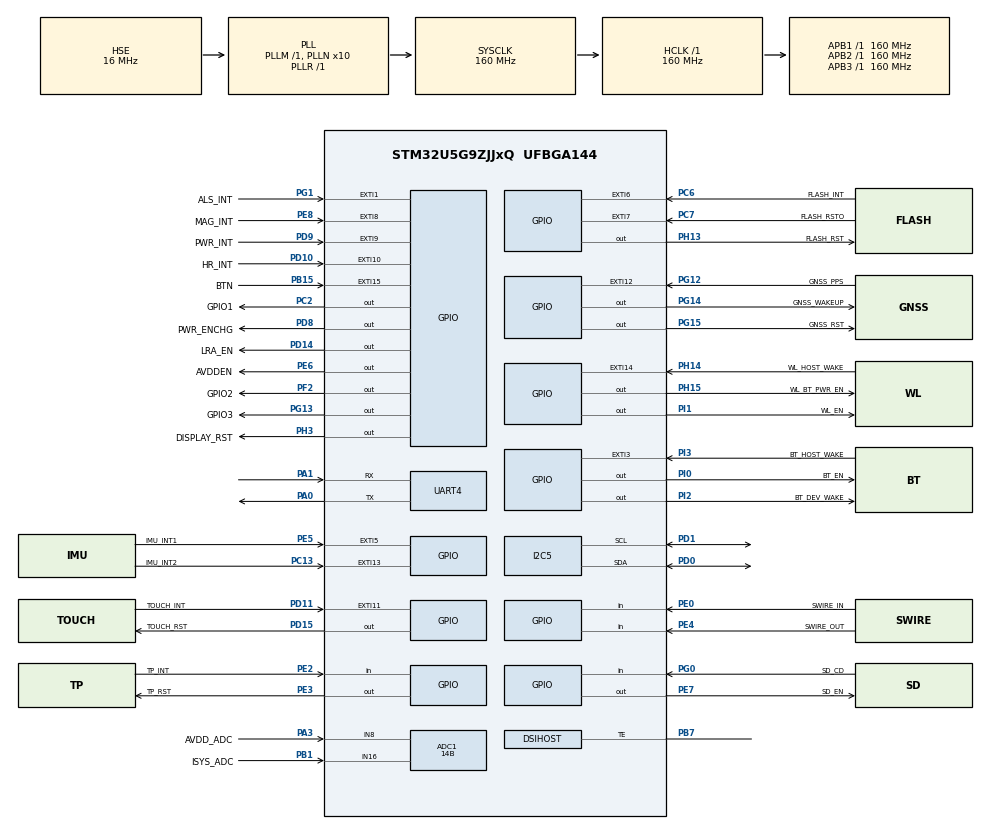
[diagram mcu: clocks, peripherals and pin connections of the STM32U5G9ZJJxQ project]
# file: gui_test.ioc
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ADC1.Channel-0\#ChannelRegularConversion=ADC_CHANNEL_8
ADC1.ClockPrescaler=ADC_CLOCK_ASYNC_DIV128
ADC1.ContinuousConvMode=ENABLE
ADC1.ConversionDataManagement=ADC_CONVERSIONDATA_DMA_CIRCULAR
ADC1.DMAContinuousRequests=ENABLE
ADC1.MonitoredBy-0\#ChannelRegularConversion=__NULL
ADC1.NbrOfConversion=1
ADC1.NbrOfConversionFlag=1
ADC1.OffsetNumber-0\#ChannelRegularConversion=ADC_OFFSET_NONE
ADC1.Rank-0\#ChannelRegularConversion=1
ADC1.Resolution=ADC_RESOLUTION_14B
ADC1.SamplingTime-0\#ChannelRegularConversion=ADC_SAMPLETIME_68CYCLES
ADC1.master=1
CORTEX_M33_NS.userName=CORTEX_M33
DSIHOST.AutomaticClockLaneControl=DSI_AUTO_CLK_LANE_CTRL_DISABLE
DSIHOST.AutomaticRefresh=DSI_AR_DISABLE
DSIHOST.BTATimeout=20
DSIHOST.CommandSize=416
DSIHOST.HighSpeedReadTimeout=20
DSIHOST.HighSpeedTransmissionTimeout=20
DSIHOST.HighSpeedWriteTimeout=20
DSIHOST.LPDcsLongWrite=DSI_LP_DLW_ENABLE
DSIHOST.LPDcsShortReadNoP=DSI_LP_DSR0P_ENABLE
DSIHOST.LPDcsShortWriteNoP=DSI_LP_DSW0P_ENABLE
DSIHOST.LPDcsShortWriteOneP=DSI_LP_DSW1P_ENABLE
DSIHOST.LPGenLongWrite=DSI_LP_GLW_ENABLE
DSIHOST.LPGenShortReadNoP=DSI_LP_GSR0P_ENABLE
DSIHOST.LPGenShortReadOneP=DSI_LP_GSR1P_ENABLE
DSIHOST.LPGenShortReadTwoP=DSI_LP_GSR2P_ENABLE
DSIHOST.LPGenShortWriteNoP=DSI_LP_GSW0P_ENABLE
DSIHOST.LPGenShortWriteOneP=DSI_LP_GSW1P_ENABLE
DSIHOST.LPGenShortWriteTwoP=DSI_LP_GSW2P_ENABLE
DSIHOST.LPMaxReadPacket=DSI_LP_MRDP_ENABLE
DSIHOST.LowPowerReadTimeout=20
DSIHOST.LowPowerReceptionTimeout=20
DSIHOST.LowPowerWriteTimeout=20
DSIHOST.NumberOfLanes=DSI_ONE_DATA_LANE
DSIHOST.PHYFrequencyRange=DSI_DPHY_FRANGE_450MHZ_510MHZ
DSIHOST.PHYLowPowerOffset=PHY_LP_OFFSSET_0_CLKP
DSIHOST.PLLChargePump=DSI_PLL_CHARGE_PUMP_2000HZ_4400HZ
DSIHOST.PLLTuning=DSI_PLL_LOOP_FILTER_2000HZ_4400HZ
DSIHOST.PLLVCORange=DSI_DPHY_VCO_FRANGE_800MHZ_1GHZ
DSIHOST.StopWaitTime=10
DSIHOST.TimeoutCkdiv=1
DSI_CKN.Mode=DSIHost_Adapted_TE
DSI_CKN.PinAttribute=Free
DSI_CKN.Signal=DSIHOST_CKN
DSI_CKP.Mode=DSIHost_Adapted_TE
DSI_CKP.PinAttribute=Free
DSI_CKP.Signal=DSIHOST_CKP
DSI_D0N.Mode=DSIHost_Adapted_TE
DSI_D0N.PinAttribute=Free
DSI_D0N.Signal=DSIHOST_D0N
DSI_D0P.Mode=DSIHost_Adapted_TE
DSI_D0P.PinAttribute=Free
DSI_D0P.Signal=DSIHOST_D0P
DSI_D1N.Mode=DSIHost_Adapted_TE
DSI_D1N.PinAttribute=Free
DSI_D1N.Signal=DSIHOST_D1N
DSI_D1P.Mode=DSIHost_Adapted_TE
DSI_D1P.PinAttribute=Free
DSI_D1P.Signal=DSIHOST_D1P
GPDMA1.CIRCULARMODE_GPDMACH0=ENABLE
GPDMA1.DESTDATAWIDTH_GPDMACH0=DMA_DEST_DATAWIDTH_HALFWORD
GPDMA1.IPHANDLE_GPDMACH0-SIMPLEREQUEST_GPDMACH0=__NULL
GPDMA1.REQUEST_GPDMACH0=GPDMA1_REQUEST_ADC1
GPDMA1.SRCDATAWIDTH_GPDMACH0=DMA_SRC_DATAWIDTH_HALFWORD
GPDMA1.TRANSFERALLOCATEDPORTDEST_GPDMACH0=DMA_DEST_ALLOCATED_PORT1
I2C5.Timing=0x30909DEC
LTDC.ActiveH=416
LTDC.ActiveW=416
LTDC.Alpha0_L0=128
LTDC.Alpha_L0=128
LTDC.Blue=0
LTDC.Blue_L0=0
LTDC.FBStartAdress_L0=framebuf
LTDC.Green=0
LTDC.Green_L0=255
LTDC.HBP=0
LTDC.HFP=0
LTDC.HSync=1
LTDC.ImageHeight_L0=416
LTDC.ImageWidth_L0=416
LTDC.Layers=0
LTDC.Red=255
LTDC.Red_L0=0
LTDC.VBP=0
LTDC.VFP=0
LTDC.VSync=1
LTDC.WindowX1_L0=416
LTDC.WindowY1_L0=416
Mcu.Family=STM32U5
Mcu.Name=STM32U5G9ZJJxQ
Mcu.Package=UFBGA144
NVIC.ADC1_2_IRQn=true\:0\:0\:false\:false\:true\:false\:true\:true\:true
NVIC.DMA2D_IRQn=true\:0\:0\:false\:false\:true\:false\:true\:true\:true
NVIC.DSI_IRQn=true\:0\:0\:false\:false\:true\:false\:true\:true\:true
NVIC.GPDMA1_Channel0_IRQn=true\:0\:0\:false\:false\:true\:false\:false\:true\:true
NVIC.PriorityGroup=NVIC_PRIORITYGROUP_4
NVIC.RCC_IRQn=true\:0\:0\:false\:false\:true\:false\:true\:false\:true
NVIC.TIM6_IRQn=true\:15\:0\:false\:false\:true\:false\:false\:true\:true
NVIC.TimeBase=TIM6_IRQn
NVIC.TimeBaseIP=TIM6
PA0.Mode=Asynchronous
PA0.PinAttribute=Free
PA0.Signal=UART4_TX
PA1.Mode=Asynchronous
PA1.PinAttribute=Free
PA1.Signal=UART4_RX
PA11.Signal=USB_OTG_HS_DM
PA12.Signal=USB_OTG_HS_DP
PA13\ (JTMS/SWDIO).Mode=Serial_Wire
PA13\ (JTMS/SWDIO).Signal=DEBUG_JTMS-SWDIO
PA14\ (JTCK/SWCLK).Mode=Serial_Wire
PA14\ (JTCK/SWCLK).Signal=DEBUG_JTCK-SWCLK
PA15\ (JTDI).Signal=USART2_RX
PA2.Mode=Clock-out-LSCO
PA2.Signal=RCC_LSCO
PA3.GPIO_Label=AVDD_ADC
PA3.Mode=IN8-Single-Ended
PA3.Signal=ADC1_IN8
PA4.GPIO_Label=ELVDD_ADC
PA4.Signal=ADC1_IN9
PA5.PinAttribute=Free
PA5.Signal=SPI1_SCK
PA6.Signal=SPI1_MISO
PA7.Signal=SPI1_MOSI
PA8.Signal=SDMMC2_D1
PB0.PinAttribute=Free
PB0.Signal=SPI1_NSS
PB1.GPIO_Label=ISYS_ADC
PB1.Mode=IN16-Single-Ended
PB1.Signal=ADC1_IN16
PB10.Signal=OCTOSPIM_P1_CLK
PB11.PinAttribute=Free
PB11.Signal=I2C2_SDA
PB13.Signal=I2C2_SCL
PB14.PinAttribute=Free
PB14.Signal=SDMMC2_D0
PB15.GPIO_Label=BTN
PB15.Signal=GPXTI15
PB2.PinAttribute=Free
PB2.Signal=OCTOSPIM_P1_DQS
PB3\ (JTDO/TRACESWO).Signal=SDMMC2_D2
PB4\ (NJTRST).PinAttribute=Free
PB4\ (NJTRST).Signal=SDMMC2_D3
PB5.Signal=OCTOSPIM_P1_NCLK
PB6.PinAttribute=Free
PB6.Signal=I2C1_SCL
PB7.Mode=DSIHost_Adapted_TE
PB7.Signal=DSIHOST_TE
PB8.Signal=SDMMC1_CKIN
PB9.Signal=I2C1_SDA
PC0.PinAttribute=Free
PC0.Signal=I2C3_SCL
PC1.PinAttribute=Free
PC1.Signal=I2C3_SDA
PC10.Signal=SDMMC1_D2
PC11.Signal=SDMMC1_D3
PC12.PinAttribute=Free
PC12.Signal=SDMMC1_CK
PC13.GPIO_Label=IMU_INT2
PC13.PinAttribute=Free
PC13.Signal=GPXTI13
PC14-OSC32_IN\ (PC14).Mode=LSE-External-Oscillator
PC14-OSC32_IN\ (PC14).Signal=RCC_OSC32_IN
PC15-OSC32_OUT\ (PC15).Mode=LSE-External-Oscillator
PC15-OSC32_OUT\ (PC15).Signal=RCC_OSC32_OUT
PC2.GPIO_Label=GPIO1
PC2.PinAttribute=Free
PC2.Signal=GPIO_Output
PC3.GPIO_Label=ELVSS_ADC
PC3.Signal=ADC1_IN4
PC6.GPIO_Label=FLASH_INT
PC6.PinAttribute=Free
PC6.Signal=GPXTI6
PC7.GPIO_Label=FLASH_RSTO
PC7.PinAttribute=Free
PC7.Signal=GPXTI7
PC8.Signal=SDMMC1_D0
PC9.PinAttribute=Free
PC9.Signal=SDMMC1_D1
PD0.Mode=I2C
PD0.Signal=I2C5_SDA
PD1.Mode=I2C
PD1.PinAttribute=Free
PD1.Signal=I2C5_SCL
PD10.GPIO_Label=HR_INT
PD10.PinAttribute=Free
PD10.Signal=GPXTI10
PD11.GPIO_Label=TOUCH_INT
PD11.PinAttribute=Free
PD11.Signal=GPXTI11
PD12.Signal=I2C4_SCL
PD13.Signal=I2C4_SDA
PD14.GPIO_Label=LRA_EN
PD14.Signal=GPIO_Output
PD15.GPIO_Label=TOUCH_RST
PD15.GPIO_ModeDefaultOutputPP=GPIO_MODE_OUTPUT_OD
PD15.GPIO_PuPd=GPIO_NOPULL
PD15.PinAttribute=Free
PD15.Signal=GPIO_Output
PD2.Signal=SDMMC1_CMD
PD3.PinAttribute=Free
PD3.Signal=USART2_CTS
PD4.Signal=USART2_RTS
PD5.Signal=USART2_TX
PD6.Signal=SDMMC2_CK
PD7.PinAttribute=Free
PD7.Signal=SDMMC2_CMD
PD8.GPIO_Label=PWR_ENCHG
PD8.Signal=GPIO_Output
PD9.GPIO_Label=PWR_INT
PD9.Signal=GPXTI9
PE0.GPIO_Label=SWIRE_IN
PE0.PinAttribute=Free
PE0.Signal=GPIO_Input
PE10.PinAttribute=Free
PE10.Signal=ADF1_SDI0
PE11.Signal=OCTOSPIM_P1_NCS
PE12.PinAttribute=Free
PE12.Signal=OCTOSPIM_P1_IO0
PE13.Signal=OCTOSPIM_P1_IO1
PE14.PinAttribute=Free
PE14.Signal=OCTOSPIM_P1_IO2
PE15.Signal=OCTOSPIM_P1_IO3
PE2.GPIO_Label=TP_INT
PE2.Signal=GPIO_Input
PE3.GPIO_Label=TP_RST
PE3.PinAttribute=Free
PE3.Signal=GPIO_Output
PE4.GPIO_Label=SWIRE_OUT
PE4.GPIO_PuPd=GPIO_PULLDOWN
PE4.Signal=GPIO_Input
PE5.GPIO_Label=IMU_INT1
PE5.Signal=GPXTI5
PE6.GPIO_Label=AVDDEN
PE6.Signal=GPIO_Output
PE7.GPIO_Label=SD_EN
PE7.Signal=GPIO_Output
PE8.GPIO_Label=MAG_INT
PE8.PinAttribute=Free
PE8.Signal=GPXTI8
PE9.PinAttribute=Free
PE9.Signal=ADF1_CCK0
PF0.PinAttribute=Free
PF0.Signal=I2C6_SDA
PF1.PinAttribute=Free
PF1.Signal=I2C6_SCL
PF2.GPIO_Label=GPIO2
PF2.PinAttribute=Free
PF2.Signal=GPIO_Output
PG0.GPIO_Label=SD_CD
PG0.PinAttribute=Free
PG0.Signal=GPIO_Input
PG1.GPIO_Label=ALS_INT
PG1.PinAttribute=Free
PG1.Signal=GPXTI1
PG10.PinAttribute=Free
PG10.Signal=USART1_RX
PG12.GPIO_Label=GNSS_PPS
PG12.PinAttribute=Free
PG12.Signal=GPXTI12
PG13.GPIO_Label=GPIO3
PG13.Signal=GPIO_Output
PG14.GPIO_Label=GNSS_WAKEUP
PG14.PinAttribute=Free
PG14.Signal=GPIO_Output
PG15.GPIO_Label=GNSS_RST
PG15.Signal=GPIO_Output
PG9.Signal=USART1_TX
PH0-OSC_IN\ (PH0).Mode=HSE-External-Oscillator
PH0-OSC_IN\ (PH0).PinAttribute=Free
PH0-OSC_IN\ (PH0).Signal=RCC_OSC_IN
PH1-OSC_OUT\ (PH1).Mode=HSE-External-Oscillator
PH1-OSC_OUT\ (PH1).PinAttribute=Free
PH1-OSC_OUT\ (PH1).Signal=RCC_OSC_OUT
PH10.PinAttribute=Free
PH10.Signal=OCTOSPIM_P2_IO5
PH11.PinAttribute=Free
PH11.Signal=OCTOSPIM_P2_IO6
PH12.PinAttribute=Free
PH12.Signal=OCTOSPIM_P2_IO7
PH13.GPIO_Label=FLASH_RST
PH13.PinAttribute=Free
PH13.Signal=GPIO_Output
PH14.GPIO_Label=WL_HOST_WAKE
PH14.PinAttribute=Free
PH14.Signal=GPXTI14
PH15.GPIO_Label=WL_BT_PWR_EN
PH15.PinAttribute=Free
PH15.Signal=GPIO_Output
PH3-BOOT0.GPIO_Label=DISPLAY_RST
PH3-BOOT0.PinAttribute=Free
PH3-BOOT0.Signal=GPIO_Output
PH9.Signal=OCTOSPIM_P2_IO4
PI0.GPIO_Label=BT_EN
PI0.PinAttribute=Free
PI0.Signal=GPIO_Output
PI1.GPIO_Label=WL_EN
PI1.PinAttribute=Free
PI1.Signal=GPIO_Output
PI2.GPIO_Label=BT_DEV_WAKE
PI2.PinAttribute=Free
PI2.Signal=GPIO_Output
PI3.GPIO_Label=BT_HOST_WAKE
PI3.PinAttribute=Free
PI3.Signal=GPXTI3
PWR.PowerMode=PWR_SMPS_SUPPLY
ProjectManager.HeapSize=0x200
ProjectManager.StackSize=0x400
ProjectManager.TargetToolchain=STM32CubeIDE
RCC.ADCFreq_Value=16000000
RCC.AHBFreq_Value=160000000
RCC.APB1Freq_Value=160000000
RCC.APB1TimFreq_Value=160000000
RCC.APB2Freq_Value=160000000
RCC.APB2TimFreq_Value=160000000
RCC.APB3Freq_Value=160000000
RCC.CortexFreq_Value=160000000
RCC.DSICLockSelection=RCC_DSICLKSOURCE_PLL3
RCC.EPOD_VALUE=16000000
RCC.EnableCSSLSE=true
RCC.EnbaleCSS=true
RCC.HCLKFreq_Value=160000000
RCC.HSE_VALUE=16000000
RCC.HSI48_VALUE=48000000
RCC.HSI_VALUE=16000000
RCC.LSCOSource1Virtual=RCC_LSCOSOURCE_LSE
RCC.LSE_Drive_Capability=RCC_LSEDRIVE_MEDIUMLOW
RCC.LSIDIV_VALUE=32000
RCC.MSIAutoCalibration=DISABLED
RCC.MSIClockRange=RCC_MSIRANGE_0
RCC.MSI_VALUE=48000000
RCC.PLL1P=5
RCC.PLL1R=1
RCC.PLL1_VCI_Range-AdvancedSettings=RCC_PLLVCIRANGE_1
RCC.PLL2FRACN=0
RCC.PLL2N=10
RCC.PLL2R=8
RCC.PLL2Source=RCC_PLLSOURCE_HSE
RCC.PLL3M=4
RCC.PLL3N=125
RCC.PLL3P=8
RCC.PLL3R=8
RCC.PLL3Source=RCC_PLLSOURCE_HSE
RCC.PLLDSIIDF=DSI_PLL_IN_DIV4
RCC.PLLDSINDIV=125
RCC.PLLDSIODF=DSI_PLL_OUT_DIV2
RCC.PLLFRACN=0
RCC.PLLN=10
RCC.PLLSourceVirtual=RCC_PLLSOURCE_HSE
RCC.RTCClockSelection=RCC_RTCCLKSOURCE_LSE
RCC.SYSCLKFreq_VALUE=160000000
RCC.SYSCLKSource=RCC_SYSCLKSOURCE_PLLCLK
RCC.VCOOutputFreq_Value=160000000
RCC.VDD_VALUE=1.8
STMicroelectronics.X-CUBE-TOUCHGFX.4.23.2.ApplicationCcGraphicsJjApplication=TouchGFXOoGenerator
STMicroelectronics.X-CUBE-TOUCHGFX.4.23.2.tgfx_address1=framebuf
STMicroelectronics.X-CUBE-TOUCHGFX.4.23.2.tgfx_display_interface=disp_ltdc
STMicroelectronics.X-CUBE-TOUCHGFX.4.23.2.tgfx_hardware_accelerator=dma_2d
STMicroelectronics.X-CUBE-TOUCHGFX.4.23.2.tgfx_location=Allocate
STMicroelectronics.X-CUBE-TOUCHGFX.4.23.2.tgfx_nemap_accelerator=gpu2d_enabled
STMicroelectronics.X-CUBE-TOUCHGFX.4.23.2.tgfx_vector_rendering=Disabled
STMicroelectronics.X-CUBE-TOUCHGFX.4.23.2.tgfx_video=Disabled
STMicroelectronics.X-CUBE-TOUCHGFX.4.23.2.tgfx_vsync=vsync_custom
STMicroelectronics.X-CUBE-TOUCHGFX.4.23.2_IsPackSelfContextualization=true
THREADX.TX_APP_CREATION=1
THREADX.TX_APP_GENERATE_INIT_CODE=true
THREADX.TX_APP_MEM_POOL_SIZE=8096
THREADX.TX_TIMER_TICKS_PER_SECOND=1000
VP_CRC_VS_CRC.Mode=CRC_Activate
VP_DMA2D_VS_DMA2D.Mode=DMA2D_Activate
VP_GPDMA1_VS_GPDMACH0.Mode=SIMPLEREQUEST_GPDMACH0
VP_GPU2D_VS_GPU2D.Mode=GPU2D_Activate
VP_ICACHE_VS_ICACHE.Mode=DirectMappedCache
VP_LPBAMQUEUE_VS_QUEUE.Mode=QUEUEMODE
VP_LPBAM_VS_SIG1.Mode=SmartRun
VP_LPBAM_VS_SIG4.Mode=LPDMA1
VP_LTDC_DSIMode.Mode=RGB888
VP_MEMORYMAP_VS_MEMORYMAP.Mode=CurAppReg
VP_PWR_VS_LPOM.Mode=PowerOptimisation
VP_PWR_VS_SECSignals.Mode=Security/Privilege
VP_PWR_Vdda.Mode=isolationVdda
VP_RTC_VS_RTC_Activate.Mode=RTC_Enabled
VP_STMicroelectronics.X-CUBE-TOUCHGFX_VS_GraphicsJjApplication_4.23.2.Mode=GraphicsJjApplication
VP_SYS_VS_tim6.Mode=TIM6
VP_THREADX_VS_RTOSJjThreadXJjCoreJjDefault.Mode=Core_Default
VREF+.Mode=InternalMode
VREF+.PinAttribute=Free
VREF+.Signal=VREFBUF_OUT
board=custom

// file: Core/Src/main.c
/* USER CODE BEGIN Header */
/**
  ******************************************************************************
  * @file           : main.c
  * @brief          : Main program body
  ******************************************************************************
  * @attention
  *
  * Copyright (c) 2024 STMicroelectronics.
  * All rights reserved.
  *
  * This software is licensed under terms that can be found in the LICENSE file
  * in the root directory of this software component.
  * If no LICENSE file comes with this software, it is provided AS-IS.
  *
  ******************************************************************************
  */
/* USER CODE END Header */
#include "app_threadx.h"
#include "main.h"
#include "app_touchgfx.h"

ADC_HandleTypeDef hadc1;
DMA_NodeTypeDef Node_GPDMA1_Channel0;
DMA_QListTypeDef List_GPDMA1_Channel0;
DMA_HandleTypeDef handle_GPDMA1_Channel0;

CRC_HandleTypeDef hcrc;

DMA2D_HandleTypeDef hdma2d;

DSI_HandleTypeDef hdsi;

GPU2D_HandleTypeDef hgpu2d;

I2C_HandleTypeDef hi2c5;

LTDC_HandleTypeDef hltdc;

RTC_HandleTypeDef hrtc;

UART_HandleTypeDef huart4;

/* USER CODE BEGIN PV */
uint32_t framebuf[416*416] = {};
/* USER CODE END PV */

void SystemClock_Config(void);
static void SystemPower_Config(void);
static void MX_GPIO_Init(void);
static void MX_GPDMA1_Init(void);
static void MX_DSIHOST_DSI_Init(void);
static void MX_ICACHE_Init(void);
static void MX_LTDC_Init(void);
static void MX_I2C5_Init(void);
static void MX_RTC_Init(void);
static void MX_ADC1_Init(void);
static void MX_UART4_Init(void);
static void MX_CRC_Init(void);
static void MX_DMA2D_Init(void);
static void MX_GPU2D_Init(void);

int main(void)
{

  /* MCU Configuration--------------------------------------------------------*/

  /* Reset of all peripherals, Initializes the Flash interface and the Systick. */
  HAL_Init();

  /* Configure the system clock */
  SystemClock_Config();

  /* Configure the System Power */
  SystemPower_Config();

  /* Initialize all configured peripherals */
  MX_GPIO_Init();
  MX_GPDMA1_Init();
  MX_DSIHOST_DSI_Init();
  MX_ICACHE_Init();
  MX_LTDC_Init();
  MX_I2C5_Init();
  MX_RTC_Init();
  MX_ADC1_Init();
  MX_UART4_Init();
  MX_CRC_Init();
  MX_DMA2D_Init();
  MX_GPU2D_Init();
  /* Call PreOsInit function */
  MX_TouchGFX_PreOSInit();
  /* USER CODE BEGIN 2 */
	HAL_DSI_Start(&hdsi);

	HAL_GPIO_WritePin(AVDDEN_GPIO_Port, AVDDEN_Pin, RESET);
	HAL_GPIO_WritePin(SD_EN_GPIO_Port,SD_EN_Pin, RESET);
	HAL_GPIO_WritePin(WL_BT_PWR_EN_GPIO_Port, WL_BT_PWR_EN_Pin, RESET);
	HAL_GPIO_WritePin(DISPLAY_RST_GPIO_Port, DISPLAY_RST_Pin, RESET);
	HAL_GPIO_WritePin(TOUCH_RST_GPIO_Port, TOUCH_RST_Pin, RESET);
	HAL_GPIO_WritePin(TP_RST_GPIO_Port, TP_RST_Pin, RESET);

	// Turn on display power AVDD
	HAL_GPIO_WritePin(AVDDEN_GPIO_Port, AVDDEN_Pin, SET);

	// Reset the display
	HAL_GPIO_WritePin(DISPLAY_RST_GPIO_Port, DISPLAY_RST_Pin, SET);
	HAL_Delay(1);
	HAL_GPIO_WritePin(DISPLAY_RST_GPIO_Port, DISPLAY_RST_Pin, RESET);
	HAL_Delay(1);
	HAL_GPIO_WritePin(DISPLAY_RST_GPIO_Port, DISPLAY_RST_Pin, SET);
	HAL_Delay(50);

	HAL_StatusTypeDef status = HAL_OK;
	UNUSED(status);

	//	float a = 0;
	//	float old_a = 0;
	//	uint32_t count = 0;

	// Exit sleep
	status = HAL_DSI_ShortWrite(&hdsi, 0, DSI_DCS_SHORT_PKT_WRITE_P0, 0x11, 0x00);
	HAL_Delay(100);

//	// ID
//	status = HAL_DSI_Read(&hdsi, 0, array, 1, DSI_DCS_SHORT_PKT_READ, 0xDB, parametersTable);
//	HAL_Delay(100);

//	// All pixels on
//	status = HAL_DSI_ShortWrite(&hdsi, 0, DSI_DCS_SHORT_PKT_WRITE_P0, 0x23, 0x00);
//	HAL_Delay(100);

	uint8_t caset_data[4] = {0x00, 0x1E, 0x01, 0xBD};
	status = HAL_DSI_LongWrite(&hdsi, 0, DSI_DCS_LONG_PKT_WRITE, 4, 0x2A, caset_data);

//	status = HAL_DSI_ShortWrite(&hdsi, 0, DSI_DCS_SHORT_PKT_WRITE_P1, 0x2A, 0x00);
	HAL_Delay(100);

	status = HAL_DSI_ShortWrite(&hdsi, 0, DSI_DCS_SHORT_PKT_WRITE_P1, 0x2B, 0x00);
	HAL_Delay(100);

	// Display on
	status = HAL_DSI_ShortWrite(&hdsi, 0, DSI_DCS_SHORT_PKT_WRITE_P0, 0x29, 0x00);
	HAL_Delay(100);

	// Inversion on
	status = HAL_DSI_ShortWrite(&hdsi, 0, DSI_DCS_SHORT_PKT_WRITE_P0, 0x21, 0x00);
	HAL_Delay(1000);

	// Set normal display mode
	status = HAL_DSI_ShortWrite(&hdsi, 0, DSI_DCS_SHORT_PKT_WRITE_P0, 0x13, 0x00);
	HAL_Delay(1000);

	// Set brightness to max
	status = HAL_DSI_ShortWrite(&hdsi, 0, DSI_DCS_SHORT_PKT_WRITE_P1, 0x51, 0xFF);
	HAL_Delay(1000);

	status = HAL_DSI_Refresh(&hdsi);
	HAL_Delay(2000);

	status = HAL_DSI_ShortWrite(&hdsi, 0, DSI_DCS_SHORT_PKT_WRITE_P1, 0x2B, 0x00);
	HAL_Delay(100);

//	// Enable tearing
//	status = HAL_DSI_ShortWrite(&hdsi, 0, DSI_DCS_SHORT_PKT_WRITE_P1, 0x35, 0x02);
//	HAL_Delay(100);

	// Inversion off
	status = HAL_DSI_ShortWrite(&hdsi, 0, DSI_DCS_SHORT_PKT_WRITE_P0, 0x20, 0x00);
	HAL_Delay(1000);
  /* USER CODE END 2 */

  MX_ThreadX_Init();

  /* We should never get here as control is now taken by the scheduler */

  /* Infinite loop */
  while (1)
  {

  }
}

void SystemClock_Config(void)
{
  RCC_OscInitTypeDef RCC_OscInitStruct = {0};
  RCC_ClkInitTypeDef RCC_ClkInitStruct = {0};

  /** Configure the main internal regulator output voltage
  */
  if (HAL_PWREx_ControlVoltageScaling(PWR_REGULATOR_VOLTAGE_SCALE1) != HAL_OK)
  {
    Error_Handler();
  }

  /** Configure LSE Drive Capability
  */
  HAL_PWR_EnableBkUpAccess();
  __HAL_RCC_LSEDRIVE_CONFIG(RCC_LSEDRIVE_MEDIUMLOW);

  /** Initializes the CPU, AHB and APB buses clocks
  */
  RCC_OscInitStruct.OscillatorType = RCC_OSCILLATORTYPE_HSI|RCC_OSCILLATORTYPE_HSE
                              |RCC_OSCILLATORTYPE_LSE;
  RCC_OscInitStruct.HSEState = RCC_HSE_ON;
  RCC_OscInitStruct.LSEState = RCC_LSE_ON;
  RCC_OscInitStruct.HSIState = RCC_HSI_ON;
  RCC_OscInitStruct.HSICalibrationValue = RCC_HSICALIBRATION_DEFAULT;
  RCC_OscInitStruct.PLL.PLLState = RCC_PLL_ON;
  RCC_OscInitStruct.PLL.PLLSource = RCC_PLLSOURCE_HSE;
  RCC_OscInitStruct.PLL.PLLMBOOST = RCC_PLLMBOOST_DIV1;
  RCC_OscInitStruct.PLL.PLLM = 1;
  RCC_OscInitStruct.PLL.PLLN = 10;
  RCC_OscInitStruct.PLL.PLLP = 5;
  RCC_OscInitStruct.PLL.PLLQ = 2;
  RCC_OscInitStruct.PLL.PLLR = 1;
  RCC_OscInitStruct.PLL.PLLRGE = RCC_PLLVCIRANGE_1;
  RCC_OscInitStruct.PLL.PLLFRACN = 0;
  if (HAL_RCC_OscConfig(&RCC_OscInitStruct) != HAL_OK)
  {
    Error_Handler();
  }

  /** Initializes the CPU, AHB and APB buses clocks
  */
  RCC_ClkInitStruct.ClockType = RCC_CLOCKTYPE_HCLK|RCC_CLOCKTYPE_SYSCLK
                              |RCC_CLOCKTYPE_PCLK1|RCC_CLOCKTYPE_PCLK2
                              |RCC_CLOCKTYPE_PCLK3;
  RCC_ClkInitStruct.SYSCLKSource = RCC_SYSCLKSOURCE_PLLCLK;
  RCC_ClkInitStruct.AHBCLKDivider = RCC_SYSCLK_DIV1;
  RCC_ClkInitStruct.APB1CLKDivider = RCC_HCLK_DIV1;
  RCC_ClkInitStruct.APB2CLKDivider = RCC_HCLK_DIV1;
  RCC_ClkInitStruct.APB3CLKDivider = RCC_HCLK_DIV1;

  if (HAL_RCC_ClockConfig(&RCC_ClkInitStruct, FLASH_LATENCY_4) != HAL_OK)
  {
    Error_Handler();
  }

  /** LSCO configuration
  */
  HAL_RCCEx_EnableLSCO(RCC_LSCOSOURCE_LSE);

  /** Enables the Clock Security System
  */
  HAL_RCC_EnableCSS();

  /** Enables the Clock Security System
  */
  HAL_RCCEx_EnableLSECSS();
}

/**
  * @brief Power Configuration
  * @retval None
  */
static void SystemPower_Config(void)
{
  HAL_PWREx_EnableVddIO2();

  /*
   * Switch to SMPS regulator instead of LDO
   */
  if (HAL_PWREx_ConfigSupply(PWR_SMPS_SUPPLY) != HAL_OK)
  {
    Error_Handler();
  }
}

static void MX_ADC1_Init(void)
{

  ADC_ChannelConfTypeDef sConfig = {0};

  /** Common config
  */
  hadc1.Instance = ADC1;
  hadc1.Init.ClockPrescaler = ADC_CLOCK_ASYNC_DIV128;
  hadc1.Init.Resolution = ADC_RESOLUTION_14B;
  hadc1.Init.GainCompensation = 0;
  hadc1.Init.DataAlign = ADC_DATAALIGN_RIGHT;
  hadc1.Init.ScanConvMode = ADC_SCAN_DISABLE;
  hadc1.Init.EOCSelection = ADC_EOC_SINGLE_CONV;
  hadc1.Init.LowPowerAutoWait = DISABLE;
  hadc1.Init.ContinuousConvMode = ENABLE;
  hadc1.Init.NbrOfConversion = 1;
  hadc1.Init.DiscontinuousConvMode = DISABLE;
  hadc1.Init.ExternalTrigConv = ADC_SOFTWARE_START;
  hadc1.Init.ExternalTrigConvEdge = ADC_EXTERNALTRIGCONVEDGE_NONE;
  hadc1.Init.DMAContinuousRequests = ENABLE;
  hadc1.Init.TriggerFrequencyMode = ADC_TRIGGER_FREQ_HIGH;
  hadc1.Init.Overrun = ADC_OVR_DATA_PRESERVED;
  hadc1.Init.LeftBitShift = ADC_LEFTBITSHIFT_NONE;
  hadc1.Init.ConversionDataManagement = ADC_CONVERSIONDATA_DMA_CIRCULAR;
  hadc1.Init.OversamplingMode = DISABLE;
  if (HAL_ADC_Init(&hadc1) != HAL_OK)
  {
    Error_Handler();
  }

  /** Configure Regular Channel
  */
  sConfig.Channel = ADC_CHANNEL_8;
  sConfig.Rank = ADC_REGULAR_RANK_1;
  sConfig.SamplingTime = ADC_SAMPLETIME_68CYCLES;
  sConfig.SingleDiff = ADC_SINGLE_ENDED;
  sConfig.OffsetNumber = ADC_OFFSET_NONE;
  sConfig.Offset = 0;
  if (HAL_ADC_ConfigChannel(&hadc1, &sConfig) != HAL_OK)
  {
    Error_Handler();
  }

}

static void MX_CRC_Init(void)
{

  hcrc.Instance = CRC;
  hcrc.Init.DefaultPolynomialUse = DEFAULT_POLYNOMIAL_ENABLE;
  hcrc.Init.DefaultInitValueUse = DEFAULT_INIT_VALUE_ENABLE;
  hcrc.Init.InputDataInversionMode = CRC_INPUTDATA_INVERSION_NONE;
  hcrc.Init.OutputDataInversionMode = CRC_OUTPUTDATA_INVERSION_DISABLE;
  hcrc.InputDataFormat = CRC_INPUTDATA_FORMAT_BYTES;
  if (HAL_CRC_Init(&hcrc) != HAL_OK)
  {
    Error_Handler();
  }

}

static void MX_DMA2D_Init(void)
{

  hdma2d.Instance = DMA2D;
  hdma2d.Init.Mode = DMA2D_M2M;
  hdma2d.Init.ColorMode = DMA2D_OUTPUT_ARGB8888;
  hdma2d.Init.OutputOffset = 0;
  hdma2d.Init.BytesSwap = DMA2D_BYTES_REGULAR;
  hdma2d.Init.LineOffsetMode = DMA2D_LOM_PIXELS;
  hdma2d.LayerCfg[1].InputOffset = 0;
  hdma2d.LayerCfg[1].InputColorMode = DMA2D_INPUT_ARGB8888;
  hdma2d.LayerCfg[1].AlphaMode = DMA2D_NO_MODIF_ALPHA;
  hdma2d.LayerCfg[1].InputAlpha = 0;
  hdma2d.LayerCfg[1].AlphaInverted = DMA2D_REGULAR_ALPHA;
  hdma2d.LayerCfg[1].RedBlueSwap = DMA2D_RB_REGULAR;
  if (HAL_DMA2D_Init(&hdma2d) != HAL_OK)
  {
    Error_Handler();
  }
  if (HAL_DMA2D_ConfigLayer(&hdma2d, 1) != HAL_OK)
  {
    Error_Handler();
  }

}

static void MX_DSIHOST_DSI_Init(void)
{

  DSI_PLLInitTypeDef PLLInit = {0};
  DSI_HOST_TimeoutTypeDef HostTimeouts = {0};
  DSI_PHY_TimerTypeDef PhyTimings = {0};
  DSI_LPCmdTypeDef LPCmd = {0};
  DSI_CmdCfgTypeDef CmdCfg = {0};

  hdsi.Instance = DSI;
  hdsi.Init.AutomaticClockLaneControl = DSI_AUTO_CLK_LANE_CTRL_DISABLE;
  hdsi.Init.TXEscapeCkdiv = 4;
  hdsi.Init.NumberOfLanes = DSI_ONE_DATA_LANE;
  hdsi.Init.PHYFrequencyRange = DSI_DPHY_FRANGE_450MHZ_510MHZ;
  hdsi.Init.PHYLowPowerOffset = PHY_LP_OFFSSET_0_CLKP;
  PLLInit.PLLNDIV = 125;
  PLLInit.PLLIDF = DSI_PLL_IN_DIV4;
  PLLInit.PLLODF = DSI_PLL_OUT_DIV2;
  PLLInit.PLLVCORange = DSI_DPHY_VCO_FRANGE_800MHZ_1GHZ;
  PLLInit.PLLChargePump = DSI_PLL_CHARGE_PUMP_2000HZ_4400HZ;
  PLLInit.PLLTuning = DSI_PLL_LOOP_FILTER_2000HZ_4400HZ;
  if (HAL_DSI_Init(&hdsi, &PLLInit) != HAL_OK)
  {
    Error_Handler();
  }
  HostTimeouts.TimeoutCkdiv = 1;
  HostTimeouts.HighSpeedTransmissionTimeout = 20;
  HostTimeouts.LowPowerReceptionTimeout = 20;
  HostTimeouts.HighSpeedReadTimeout = 20;
  HostTimeouts.LowPowerReadTimeout = 20;
  HostTimeouts.HighSpeedWriteTimeout = 20;
  HostTimeouts.HighSpeedWritePrespMode = DSI_HS_PM_DISABLE;
  HostTimeouts.LowPowerWriteTimeout = 20;
  HostTimeouts.BTATimeout = 20;
  if (HAL_DSI_ConfigHostTimeouts(&hdsi, &HostTimeouts) != HAL_OK)
  {
    Error_Handler();
  }
  PhyTimings.ClockLaneHS2LPTime = 10;
  PhyTimings.ClockLaneLP2HSTime = 0;
  PhyTimings.DataLaneHS2LPTime = 0;
  PhyTimings.DataLaneLP2HSTime = 0;
  PhyTimings.DataLaneMaxReadTime = 0;
  PhyTimings.StopWaitTime = 10;
  if (HAL_DSI_ConfigPhyTimer(&hdsi, &PhyTimings) != HAL_OK)
  {
    Error_Handler();
  }
  if (HAL_DSI_ConfigFlowControl(&hdsi, DSI_FLOW_CONTROL_BTA) != HAL_OK)
  {
    Error_Handler();
  }
  if (HAL_DSI_ConfigErrorMonitor(&hdsi, HAL_DSI_ERROR_NONE) != HAL_OK)
  {
    Error_Handler();
  }
  LPCmd.LPGenShortWriteNoP = DSI_LP_GSW0P_ENABLE;
  LPCmd.LPGenShortWriteOneP = DSI_LP_GSW1P_ENABLE;
  LPCmd.LPGenShortWriteTwoP = DSI_LP_GSW2P_ENABLE;
  LPCmd.LPGenShortReadNoP = DSI_LP_GSR0P_ENABLE;
  LPCmd.LPGenShortReadOneP = DSI_LP_GSR1P_ENABLE;
  LPCmd.LPGenShortReadTwoP = DSI_LP_GSR2P_ENABLE;
  LPCmd.LPGenLongWrite = DSI_LP_GLW_ENABLE;
  LPCmd.LPDcsShortWriteNoP = DSI_LP_DSW0P_ENABLE;
  LPCmd.LPDcsShortWriteOneP = DSI_LP_DSW1P_ENABLE;
  LPCmd.LPDcsShortReadNoP = DSI_LP_DSR0P_ENABLE;
  LPCmd.LPDcsLongWrite = DSI_LP_DLW_ENABLE;
  LPCmd.LPMaxReadPacket = DSI_LP_MRDP_ENABLE;
  LPCmd.AcknowledgeRequest = DSI_ACKNOWLEDGE_DISABLE;
  if (HAL_DSI_ConfigCommand(&hdsi, &LPCmd) != HAL_OK)
  {
    Error_Handler();
  }
  CmdCfg.ColorCoding = DSI_RGB888;
  CmdCfg.CommandSize = 416;
  CmdCfg.TearingEffectSource = DSI_TE_EXTERNAL;
  CmdCfg.TearingEffectPolarity = DSI_TE_RISING_EDGE;
  CmdCfg.HSPolarity = DSI_HSYNC_ACTIVE_LOW;
  CmdCfg.VSPolarity = DSI_VSYNC_ACTIVE_LOW;
  CmdCfg.DEPolarity = DSI_DATA_ENABLE_ACTIVE_HIGH;
  CmdCfg.VSyncPol = DSI_VSYNC_FALLING;
  CmdCfg.AutomaticRefresh = DSI_AR_DISABLE;
  CmdCfg.TEAcknowledgeRequest = DSI_TE_ACKNOWLEDGE_DISABLE;
  if (HAL_DSI_ConfigAdaptedCommandMode(&hdsi, &CmdCfg) != HAL_OK)
  {
    Error_Handler();
  }
  if (HAL_DSI_SetGenericVCID(&hdsi, 0) != HAL_OK)
  {
    Error_Handler();
  }

}

static void MX_GPDMA1_Init(void)
{

  /* Peripheral clock enable */
  __HAL_RCC_GPDMA1_CLK_ENABLE();

  /* GPDMA1 interrupt Init */
    HAL_NVIC_SetPriority(GPDMA1_Channel0_IRQn, 0, 0);
    HAL_NVIC_EnableIRQ(GPDMA1_Channel0_IRQn);

}

static void MX_GPU2D_Init(void)
{

  hgpu2d.Instance = GPU2D;
  if (HAL_GPU2D_Init(&hgpu2d) != HAL_OK)
  {
    Error_Handler();
  }

}

static void MX_I2C5_Init(void)
{

  hi2c5.Instance = I2C5;
  hi2c5.Init.Timing = 0x30909DEC;
  hi2c5.Init.OwnAddress1 = 0;
  hi2c5.Init.AddressingMode = I2C_ADDRESSINGMODE_7BIT;
  hi2c5.Init.DualAddressMode = I2C_DUALADDRESS_DISABLE;
  hi2c5.Init.OwnAddress2 = 0;
  hi2c5.Init.OwnAddress2Masks = I2C_OA2_NOMASK;
  hi2c5.Init.GeneralCallMode = I2C_GENERALCALL_DISABLE;
  hi2c5.Init.NoStretchMode = I2C_NOSTRETCH_DISABLE;
  if (HAL_I2C_Init(&hi2c5) != HAL_OK)
  {
    Error_Handler();
  }

  /** Configure Analogue filter
  */
  if (HAL_I2CEx_ConfigAnalogFilter(&hi2c5, I2C_ANALOGFILTER_ENABLE) != HAL_OK)
  {
    Error_Handler();
  }

  /** Configure Digital filter
  */
  if (HAL_I2CEx_ConfigDigitalFilter(&hi2c5, 0) != HAL_OK)
  {
    Error_Handler();
  }

}

static void MX_ICACHE_Init(void)
{

  /** Enable instruction cache in 1-way (direct mapped cache)
  */
  if (HAL_ICACHE_ConfigAssociativityMode(ICACHE_1WAY) != HAL_OK)
  {
    Error_Handler();
  }
  if (HAL_ICACHE_Enable() != HAL_OK)
  {
    Error_Handler();
  }

}

static void MX_LTDC_Init(void)
{

  LTDC_LayerCfgTypeDef pLayerCfg = {0};

  hltdc.Instance = LTDC;
  hltdc.Init.HSPolarity = LTDC_HSPOLARITY_AL;
  hltdc.Init.VSPolarity = LTDC_VSPOLARITY_AL;
  hltdc.Init.DEPolarity = LTDC_DEPOLARITY_AL;
  hltdc.Init.PCPolarity = LTDC_PCPOLARITY_IPC;
  hltdc.Init.HorizontalSync = 0;
  hltdc.Init.VerticalSync = 0;
  hltdc.Init.AccumulatedHBP = 0;
  hltdc.Init.AccumulatedVBP = 0;
  hltdc.Init.AccumulatedActiveW = 416;
  hltdc.Init.AccumulatedActiveH = 416;
  hltdc.Init.TotalWidth = 416;
  hltdc.Init.TotalHeigh = 416;
  hltdc.Init.Backcolor.Blue = 0;
  hltdc.Init.Backcolor.Green = 0;
  hltdc.Init.Backcolor.Red = 255;
  if (HAL_LTDC_Init(&hltdc) != HAL_OK)
  {
    Error_Handler();
  }
  pLayerCfg.WindowX0 = 0;
  pLayerCfg.WindowX1 = 416;
  pLayerCfg.WindowY0 = 0;
  pLayerCfg.WindowY1 = 416;
  pLayerCfg.PixelFormat = LTDC_PIXEL_FORMAT_ARGB8888;
  pLayerCfg.Alpha = 128;
  pLayerCfg.Alpha0 = 128;
  pLayerCfg.BlendingFactor1 = LTDC_BLENDING_FACTOR1_CA;
  pLayerCfg.BlendingFactor2 = LTDC_BLENDING_FACTOR2_CA;
  pLayerCfg.FBStartAdress = framebuf;
  pLayerCfg.ImageWidth = 416;
  pLayerCfg.ImageHeight = 416;
  pLayerCfg.Backcolor.Blue = 0;
  pLayerCfg.Backcolor.Green = 255;
  pLayerCfg.Backcolor.Red = 0;
  if (HAL_LTDC_ConfigLayer(&hltdc, &pLayerCfg, 0) != HAL_OK)
  {
    Error_Handler();
  }

}

static void MX_RTC_Init(void)
{

  RTC_PrivilegeStateTypeDef privilegeState = {0};

  /** Initialize RTC Only
  */
  hrtc.Instance = RTC;
  hrtc.Init.HourFormat = RTC_HOURFORMAT_24;
  hrtc.Init.AsynchPrediv = 127;
  hrtc.Init.SynchPrediv = 255;
  hrtc.Init.OutPut = RTC_OUTPUT_DISABLE;
  hrtc.Init.OutPutRemap = RTC_OUTPUT_REMAP_NONE;
  hrtc.Init.OutPutPolarity = RTC_OUTPUT_POLARITY_HIGH;
  hrtc.Init.OutPutType = RTC_OUTPUT_TYPE_OPENDRAIN;
  hrtc.Init.OutPutPullUp = RTC_OUTPUT_PULLUP_NONE;
  hrtc.Init.BinMode = RTC_BINARY_NONE;
  if (HAL_RTC_Init(&hrtc) != HAL_OK)
  {
    Error_Handler();
  }
  privilegeState.rtcPrivilegeFull = RTC_PRIVILEGE_FULL_NO;
  privilegeState.backupRegisterPrivZone = RTC_PRIVILEGE_BKUP_ZONE_NONE;
  privilegeState.backupRegisterStartZone2 = RTC_BKP_DR0;
  privilegeState.backupRegisterStartZone3 = RTC_BKP_DR0;
  if (HAL_RTCEx_PrivilegeModeSet(&hrtc, &privilegeState) != HAL_OK)
  {
    Error_Handler();
  }

}

static void MX_UART4_Init(void)
{

  huart4.Instance = UART4;
  huart4.Init.BaudRate = 115200;
  huart4.Init.WordLength = UART_WORDLENGTH_8B;
  huart4.Init.StopBits = UART_STOPBITS_1;
  huart4.Init.Parity = UART_PARITY_NONE;
  huart4.Init.Mode = UART_MODE_TX_RX;
  huart4.Init.HwFlowCtl = UART_HWCONTROL_NONE;
  huart4.Init.OverSampling = UART_OVERSAMPLING_16;
  huart4.Init.OneBitSampling = UART_ONE_BIT_SAMPLE_DISABLE;
  huart4.Init.ClockPrescaler = UART_PRESCALER_DIV1;
  huart4.AdvancedInit.AdvFeatureInit = UART_ADVFEATURE_NO_INIT;
  if (HAL_UART_Init(&huart4) != HAL_OK)
  {
    Error_Handler();
  }
  if (HAL_UARTEx_SetTxFifoThreshold(&huart4, UART_TXFIFO_THRESHOLD_1_8) != HAL_OK)
  {
    Error_Handler();
  }
  if (HAL_UARTEx_SetRxFifoThreshold(&huart4, UART_RXFIFO_THRESHOLD_1_8) != HAL_OK)
  {
    Error_Handler();
  }
  if (HAL_UARTEx_DisableFifoMode(&huart4) != HAL_OK)
  {
    Error_Handler();
  }

}

static void MX_GPIO_Init(void)
{
  GPIO_InitTypeDef GPIO_InitStruct = {0};

  /* GPIO Ports Clock Enable */
  __HAL_RCC_GPIOB_CLK_ENABLE();
  __HAL_RCC_GPIOH_CLK_ENABLE();
  __HAL_RCC_GPIOG_CLK_ENABLE();
  __HAL_RCC_GPIOD_CLK_ENABLE();
  __HAL_RCC_GPIOC_CLK_ENABLE();
  __HAL_RCC_GPIOE_CLK_ENABLE();
  __HAL_RCC_GPIOA_CLK_ENABLE();
  __HAL_RCC_GPIOF_CLK_ENABLE();
  __HAL_RCC_GPIOI_CLK_ENABLE();

  /*Configure GPIO pin Output Level */
  HAL_GPIO_WritePin(GPIOH, DISPLAY_RST_Pin|WL_BT_PWR_EN_Pin|FLASH_RST_Pin, GPIO_PIN_RESET);

  /*Configure GPIO pin Output Level */
  HAL_GPIO_WritePin(GPIOG, GNSS_WAKEUP_Pin|GNSS_RST_Pin|GPIO3_Pin, GPIO_PIN_RESET);

  /*Configure GPIO pin Output Level */
  HAL_GPIO_WritePin(GPIOE, TP_RST_Pin|AVDDEN_Pin|SD_EN_Pin, GPIO_PIN_RESET);

  /*Configure GPIO pin Output Level */
  HAL_GPIO_WritePin(GPIOI, BT_DEV_WAKE_Pin|BT_EN_Pin|WL_EN_Pin, GPIO_PIN_RESET);

  /*Configure GPIO pin Output Level */
  HAL_GPIO_WritePin(GPIO2_GPIO_Port, GPIO2_Pin, GPIO_PIN_RESET);

  /*Configure GPIO pin Output Level */
  HAL_GPIO_WritePin(GPIO1_GPIO_Port, GPIO1_Pin, GPIO_PIN_RESET);

  /*Configure GPIO pin Output Level */
  HAL_GPIO_WritePin(GPIOD, TOUCH_RST_Pin|LRA_EN_Pin|PWR_ENCHG_Pin, GPIO_PIN_RESET);

  /*Configure GPIO pins : PB9 PB6 */
  GPIO_InitStruct.Pin = GPIO_PIN_9|GPIO_PIN_6;
  GPIO_InitStruct.Mode = GPIO_MODE_AF_OD;
  GPIO_InitStruct.Pull = GPIO_NOPULL;
  GPIO_InitStruct.Speed = GPIO_SPEED_FREQ_LOW;
  GPIO_InitStruct.Alternate = GPIO_AF4_I2C1;
  HAL_GPIO_Init(GPIOB, &GPIO_InitStruct);

  /*Configure GPIO pins : DISPLAY_RST_Pin WL_BT_PWR_EN_Pin FLASH_RST_Pin */
  GPIO_InitStruct.Pin = DISPLAY_RST_Pin|WL_BT_PWR_EN_Pin|FLASH_RST_Pin;
  GPIO_InitStruct.Mode = GPIO_MODE_OUTPUT_PP;
  GPIO_InitStruct.Pull = GPIO_NOPULL;
  GPIO_InitStruct.Speed = GPIO_SPEED_FREQ_LOW;
  HAL_GPIO_Init(GPIOH, &GPIO_InitStruct);

  /*Configure GPIO pins : PB4 PB3 PB14 */
  GPIO_InitStruct.Pin = GPIO_PIN_4|GPIO_PIN_3|GPIO_PIN_14;
  GPIO_InitStruct.Mode = GPIO_MODE_AF_PP;
  GPIO_InitStruct.Pull = GPIO_NOPULL;
  GPIO_InitStruct.Speed = GPIO_SPEED_FREQ_HIGH;
  GPIO_InitStruct.Alternate = GPIO_AF12_SDMMC2;
  HAL_GPIO_Init(GPIOB, &GPIO_InitStruct);

  /*Configure GPIO pins : GNSS_WAKEUP_Pin GNSS_RST_Pin GPIO3_Pin */
  GPIO_InitStruct.Pin = GNSS_WAKEUP_Pin|GNSS_RST_Pin|GPIO3_Pin;
  GPIO_InitStruct.Mode = GPIO_MODE_OUTPUT_PP;
  GPIO_InitStruct.Pull = GPIO_NOPULL;
  GPIO_InitStruct.Speed = GPIO_SPEED_FREQ_LOW;
  HAL_GPIO_Init(GPIOG, &GPIO_InitStruct);

  /*Configure GPIO pins : GNSS_PPS_Pin ALS_INT_Pin */
  GPIO_InitStruct.Pin = GNSS_PPS_Pin|ALS_INT_Pin;
  GPIO_InitStruct.Mode = GPIO_MODE_IT_RISING;
  GPIO_InitStruct.Pull = GPIO_NOPULL;
  HAL_GPIO_Init(GPIOG, &GPIO_InitStruct);

  /*Configure GPIO pins : PG10 PG9 */
  GPIO_InitStruct.Pin = GPIO_PIN_10|GPIO_PIN_9;
  GPIO_InitStruct.Mode = GPIO_MODE_AF_PP;
  GPIO_InitStruct.Pull = GPIO_NOPULL;
  GPIO_InitStruct.Speed = GPIO_SPEED_FREQ_LOW;
  GPIO_InitStruct.Alternate = GPIO_AF7_USART1;
  HAL_GPIO_Init(GPIOG, &GPIO_InitStruct);

  /*Configure GPIO pins : PD7 PD6 */
  GPIO_InitStruct.Pin = GPIO_PIN_7|GPIO_PIN_6;
  GPIO_InitStruct.Mode = GPIO_MODE_AF_PP;
  GPIO_InitStruct.Pull = GPIO_NOPULL;
  GPIO_InitStruct.Speed = GPIO_SPEED_FREQ_HIGH;
  GPIO_InitStruct.Alternate = GPIO_AF11_SDMMC2;
  HAL_GPIO_Init(GPIOD, &GPIO_InitStruct);

  /*Configure GPIO pins : PD3 PD5 PD4 */
  GPIO_InitStruct.Pin = GPIO_PIN_3|GPIO_PIN_5|GPIO_PIN_4;
  GPIO_InitStruct.Mode = GPIO_MODE_AF_PP;
  GPIO_InitStruct.Pull = GPIO_NOPULL;
  GPIO_InitStruct.Speed = GPIO_SPEED_FREQ_LOW;
  GPIO_InitStruct.Alternate = GPIO_AF7_USART2;
  HAL_GPIO_Init(GPIOD, &GPIO_InitStruct);

  /*Configure GPIO pins : PC12 PC10 PC11 PC8
                           PC9 */
  GPIO_InitStruct.Pin = GPIO_PIN_12|GPIO_PIN_10|GPIO_PIN_11|GPIO_PIN_8
                          |GPIO_PIN_9;
  GPIO_InitStruct.Mode = GPIO_MODE_AF_PP;
  GPIO_InitStruct.Pull = GPIO_NOPULL;
  GPIO_InitStruct.Speed = GPIO_SPEED_FREQ_HIGH;
  GPIO_InitStruct.Alternate = GPIO_AF12_SDMMC1;
  HAL_GPIO_Init(GPIOC, &GPIO_InitStruct);

  /*Configure GPIO pins : TP_INT_Pin SWIRE_IN_Pin */
  GPIO_InitStruct.Pin = TP_INT_Pin|SWIRE_IN_Pin;
  GPIO_InitStruct.Mode = GPIO_MODE_INPUT;
  GPIO_InitStruct.Pull = GPIO_NOPULL;
  HAL_GPIO_Init(GPIOE, &GPIO_InitStruct);

  /*Configure GPIO pins : TP_RST_Pin AVDDEN_Pin SD_EN_Pin */
  GPIO_InitStruct.Pin = TP_RST_Pin|AVDDEN_Pin|SD_EN_Pin;
  GPIO_InitStruct.Mode = GPIO_MODE_OUTPUT_PP;
  GPIO_InitStruct.Pull = GPIO_NOPULL;
  GPIO_InitStruct.Speed = GPIO_SPEED_FREQ_LOW;
  HAL_GPIO_Init(GPIOE, &GPIO_InitStruct);

  /*Configure GPIO pin : PB8 */
  GPIO_InitStruct.Pin = GPIO_PIN_8;
  GPIO_InitStruct.Mode = GPIO_MODE_AF_PP;
  GPIO_InitStruct.Pull = GPIO_NOPULL;
  GPIO_InitStruct.Speed = GPIO_SPEED_FREQ_HIGH;
  GPIO_InitStruct.Alternate = GPIO_AF8_SDMMC1;
  HAL_GPIO_Init(GPIOB, &GPIO_InitStruct);

  /*Configure GPIO pin : PB5 */
  GPIO_InitStruct.Pin = GPIO_PIN_5;
  GPIO_InitStruct.Mode = GPIO_MODE_AF_PP;
  GPIO_InitStruct.Pull = GPIO_NOPULL;
  GPIO_InitStruct.Speed = GPIO_SPEED_FREQ_VERY_HIGH;
  GPIO_InitStruct.Alternate = GPIO_AF3_OCTOSPI1;
  HAL_GPIO_Init(GPIOB, &GPIO_InitStruct);

  /*Configure GPIO pin : PD2 */
  GPIO_InitStruct.Pin = GPIO_PIN_2;
  GPIO_InitStruct.Mode = GPIO_MODE_AF_PP;
  GPIO_InitStruct.Pull = GPIO_NOPULL;
  GPIO_InitStruct.Speed = GPIO_SPEED_FREQ_HIGH;
  GPIO_InitStruct.Alternate = GPIO_AF12_SDMMC1;
  HAL_GPIO_Init(GPIOD, &GPIO_InitStruct);

  /*Configure GPIO pin : SWIRE_OUT_Pin */
  GPIO_InitStruct.Pin = SWIRE_OUT_Pin;
  GPIO_InitStruct.Mode = GPIO_MODE_INPUT;
  GPIO_InitStruct.Pull = GPIO_PULLDOWN;
  HAL_GPIO_Init(SWIRE_OUT_GPIO_Port, &GPIO_InitStruct);

  /*Configure GPIO pins : IMU_INT1_Pin MAG_INT_Pin */
  GPIO_InitStruct.Pin = IMU_INT1_Pin|MAG_INT_Pin;
  GPIO_InitStruct.Mode = GPIO_MODE_IT_RISING;
  GPIO_InitStruct.Pull = GPIO_NOPULL;
  HAL_GPIO_Init(GPIOE, &GPIO_InitStruct);

  /*Configure GPIO pin : PA15 */
  GPIO_InitStruct.Pin = GPIO_PIN_15;
  GPIO_InitStruct.Mode = GPIO_MODE_AF_PP;
  GPIO_InitStruct.Pull = GPIO_NOPULL;
  GPIO_InitStruct.Speed = GPIO_SPEED_FREQ_LOW;
  GPIO_InitStruct.Alternate = GPIO_AF3_USART2;
  HAL_GPIO_Init(GPIOA, &GPIO_InitStruct);

  /*Configure GPIO pins : PA12 PA11 */
  GPIO_InitStruct.Pin = GPIO_PIN_12|GPIO_PIN_11;
  GPIO_InitStruct.Mode = GPIO_MODE_AF_PP;
  GPIO_InitStruct.Pull = GPIO_NOPULL;
  GPIO_InitStruct.Speed = GPIO_SPEED_FREQ_LOW;
  HAL_GPIO_Init(GPIOA, &GPIO_InitStruct);

  /*Configure GPIO pin : PA8 */
  GPIO_InitStruct.Pin = GPIO_PIN_8;
  GPIO_InitStruct.Mode = GPIO_MODE_AF_PP;
  GPIO_InitStruct.Pull = GPIO_NOPULL;
  GPIO_InitStruct.Speed = GPIO_SPEED_FREQ_HIGH;
  GPIO_InitStruct.Alternate = GPIO_AF8_SDMMC2;
  HAL_GPIO_Init(GPIOA, &GPIO_InitStruct);

  /*Configure GPIO pins : IMU_INT2_Pin FLASH_RSTO_Pin FLASH_INT_Pin */
  GPIO_InitStruct.Pin = IMU_INT2_Pin|FLASH_RSTO_Pin|FLASH_INT_Pin;
  GPIO_InitStruct.Mode = GPIO_MODE_IT_RISING;
  GPIO_InitStruct.Pull = GPIO_NOPULL;
  HAL_GPIO_Init(GPIOC, &GPIO_InitStruct);

  /*Configure GPIO pins : PF0 PF1 */
  GPIO_InitStruct.Pin = GPIO_PIN_0|GPIO_PIN_1;
  GPIO_InitStruct.Mode = GPIO_MODE_AF_OD;
  GPIO_InitStruct.Pull = GPIO_NOPULL;
  GPIO_InitStruct.Speed = GPIO_SPEED_FREQ_LOW;
  GPIO_InitStruct.Alternate = GPIO_AF2_I2C6;
  HAL_GPIO_Init(GPIOF, &GPIO_InitStruct);

  /*Configure GPIO pins : BT_DEV_WAKE_Pin BT_EN_Pin WL_EN_Pin */
  GPIO_InitStruct.Pin = BT_DEV_WAKE_Pin|BT_EN_Pin|WL_EN_Pin;
  GPIO_InitStruct.Mode = GPIO_MODE_OUTPUT_PP;
  GPIO_InitStruct.Pull = GPIO_NOPULL;
  GPIO_InitStruct.Speed = GPIO_SPEED_FREQ_LOW;
  HAL_GPIO_Init(GPIOI, &GPIO_InitStruct);

  /*Configure GPIO pin : BT_HOST_WAKE_Pin */
  GPIO_InitStruct.Pin = BT_HOST_WAKE_Pin;
  GPIO_InitStruct.Mode = GPIO_MODE_IT_RISING;
  GPIO_InitStruct.Pull = GPIO_NOPULL;
  HAL_GPIO_Init(BT_HOST_WAKE_GPIO_Port, &GPIO_InitStruct);

  /*Configure GPIO pin : GPIO2_Pin */
  GPIO_InitStruct.Pin = GPIO2_Pin;
  GPIO_InitStruct.Mode = GPIO_MODE_OUTPUT_PP;
  GPIO_InitStruct.Pull = GPIO_NOPULL;
  GPIO_InitStruct.Speed = GPIO_SPEED_FREQ_LOW;
  HAL_GPIO_Init(GPIO2_GPIO_Port, &GPIO_InitStruct);

  /*Configure GPIO pin : GPIO1_Pin */
  GPIO_InitStruct.Pin = GPIO1_Pin;
  GPIO_InitStruct.Mode = GPIO_MODE_OUTPUT_PP;
  GPIO_InitStruct.Pull = GPIO_NOPULL;
  GPIO_InitStruct.Speed = GPIO_SPEED_FREQ_LOW;
  HAL_GPIO_Init(GPIO1_GPIO_Port, &GPIO_InitStruct);

  /*Configure GPIO pin : WL_HOST_WAKE_Pin */
  GPIO_InitStruct.Pin = WL_HOST_WAKE_Pin;
  GPIO_InitStruct.Mode = GPIO_MODE_IT_RISING;
  GPIO_InitStruct.Pull = GPIO_NOPULL;
  HAL_GPIO_Init(WL_HOST_WAKE_GPIO_Port, &GPIO_InitStruct);

  /*Configure GPIO pins : PB2 PB10 */
  GPIO_InitStruct.Pin = GPIO_PIN_2|GPIO_PIN_10;
  GPIO_InitStruct.Mode = GPIO_MODE_AF_PP;
  GPIO_InitStruct.Pull = GPIO_NOPULL;
  GPIO_InitStruct.Speed = GPIO_SPEED_FREQ_VERY_HIGH;
  GPIO_InitStruct.Alternate = GPIO_AF10_OCTOSPI1;
  HAL_GPIO_Init(GPIOB, &GPIO_InitStruct);

  /*Configure GPIO pin : TOUCH_RST_Pin */
  GPIO_InitStruct.Pin = TOUCH_RST_Pin;
  GPIO_InitStruct.Mode = GPIO_MODE_OUTPUT_OD;
  GPIO_InitStruct.Pull = GPIO_NOPULL;
  GPIO_InitStruct.Speed = GPIO_SPEED_FREQ_LOW;
  HAL_GPIO_Init(TOUCH_RST_GPIO_Port, &GPIO_InitStruct);

  /*Configure GPIO pins : PH12 PH11 PH10 PH9 */
  GPIO_InitStruct.Pin = GPIO_PIN_12|GPIO_PIN_11|GPIO_PIN_10|GPIO_PIN_9;
  GPIO_InitStruct.Mode = GPIO_MODE_AF_PP;
  GPIO_InitStruct.Pull = GPIO_NOPULL;
  GPIO_InitStruct.Speed = GPIO_SPEED_FREQ_VERY_HIGH;
  GPIO_InitStruct.Alternate = GPIO_AF5_OCTOSPI2;
  HAL_GPIO_Init(GPIOH, &GPIO_InitStruct);

  /*Configure GPIO pin : PB0 */
  GPIO_InitStruct.Pin = GPIO_PIN_0;
  GPIO_InitStruct.Mode = GPIO_MODE_AF_PP;
  GPIO_InitStruct.Pull = GPIO_NOPULL;
  GPIO_InitStruct.Speed = GPIO_SPEED_FREQ_LOW;
  GPIO_InitStruct.Alternate = GPIO_AF5_SPI1;
  HAL_GPIO_Init(GPIOB, &GPIO_InitStruct);

  /*Configure GPIO pins : PE10 PE9 */
  GPIO_InitStruct.Pin = GPIO_PIN_10|GPIO_PIN_9;
  GPIO_InitStruct.Mode = GPIO_MODE_AF_PP;
  GPIO_InitStruct.Pull = GPIO_NOPULL;
  GPIO_InitStruct.Speed = GPIO_SPEED_FREQ_LOW;
  GPIO_InitStruct.Alternate = GPIO_AF3_ADF1;
  HAL_GPIO_Init(GPIOE, &GPIO_InitStruct);

  /*Configure GPIO pins : PE12 PE14 PE13 PE11
                           PE15 */
  GPIO_InitStruct.Pin = GPIO_PIN_12|GPIO_PIN_14|GPIO_PIN_13|GPIO_PIN_11
                          |GPIO_PIN_15;
  GPIO_InitStruct.Mode = GPIO_MODE_AF_PP;
  GPIO_InitStruct.Pull = GPIO_NOPULL;
  GPIO_InitStruct.Speed = GPIO_SPEED_FREQ_VERY_HIGH;
  GPIO_InitStruct.Alternate = GPIO_AF10_OCTOSPI1;
  HAL_GPIO_Init(GPIOE, &GPIO_InitStruct);

  /*Configure GPIO pins : PC1 PC0 */
  GPIO_InitStruct.Pin = GPIO_PIN_1|GPIO_PIN_0;
  GPIO_InitStruct.Mode = GPIO_MODE_AF_OD;
  GPIO_InitStruct.Pull = GPIO_NOPULL;
  GPIO_InitStruct.Speed = GPIO_SPEED_FREQ_LOW;
  GPIO_InitStruct.Alternate = GPIO_AF4_I2C3;
  HAL_GPIO_Init(GPIOC, &GPIO_InitStruct);

  /*Configure GPIO pins : PA5 PA7 PA6 */
  GPIO_InitStruct.Pin = GPIO_PIN_5|GPIO_PIN_7|GPIO_PIN_6;
  GPIO_InitStruct.Mode = GPIO_MODE_AF_PP;
  GPIO_InitStruct.Pull = GPIO_NOPULL;
  GPIO_InitStruct.Speed = GPIO_SPEED_FREQ_LOW;
  GPIO_InitStruct.Alternate = GPIO_AF5_SPI1;
  HAL_GPIO_Init(GPIOA, &GPIO_InitStruct);

  /*Configure GPIO pin : SD_CD_Pin */
  GPIO_InitStruct.Pin = SD_CD_Pin;
  GPIO_InitStruct.Mode = GPIO_MODE_INPUT;
  GPIO_InitStruct.Pull = GPIO_NOPULL;
  HAL_GPIO_Init(SD_CD_GPIO_Port, &GPIO_InitStruct);

  /*Configure GPIO pins : PD13 PD12 */
  GPIO_InitStruct.Pin = GPIO_PIN_13|GPIO_PIN_12;
  GPIO_InitStruct.Mode = GPIO_MODE_AF_OD;
  GPIO_InitStruct.Pull = GPIO_NOPULL;
  GPIO_InitStruct.Speed = GPIO_SPEED_FREQ_LOW;
  GPIO_InitStruct.Alternate = GPIO_AF4_I2C4;
  HAL_GPIO_Init(GPIOD, &GPIO_InitStruct);

  /*Configure GPIO pins : PWR_INT_Pin TOUCH_INT_Pin HR_INT_Pin */
  GPIO_InitStruct.Pin = PWR_INT_Pin|TOUCH_INT_Pin|HR_INT_Pin;
  GPIO_InitStruct.Mode = GPIO_MODE_IT_RISING;
  GPIO_InitStruct.Pull = GPIO_NOPULL;
  HAL_GPIO_Init(GPIOD, &GPIO_InitStruct);

  /*Configure GPIO pin : PA2 */
  GPIO_InitStruct.Pin = GPIO_PIN_2;
  GPIO_InitStruct.Mode = GPIO_MODE_ANALOG;
  GPIO_InitStruct.Pull = GPIO_NOPULL;
  HAL_GPIO_Init(GPIOA, &GPIO_InitStruct);

  /*Configure GPIO pins : PB11 PB13 */
  GPIO_InitStruct.Pin = GPIO_PIN_11|GPIO_PIN_13;
  GPIO_InitStruct.Mode = GPIO_MODE_AF_OD;
  GPIO_InitStruct.Pull = GPIO_NOPULL;
  GPIO_InitStruct.Speed = GPIO_SPEED_FREQ_LOW;
  GPIO_InitStruct.Alternate = GPIO_AF4_I2C2;
  HAL_GPIO_Init(GPIOB, &GPIO_InitStruct);

  /*Configure GPIO pins : LRA_EN_Pin PWR_ENCHG_Pin */
  GPIO_InitStruct.Pin = LRA_EN_Pin|PWR_ENCHG_Pin;
  GPIO_InitStruct.Mode = GPIO_MODE_OUTPUT_PP;
  GPIO_InitStruct.Pull = GPIO_NOPULL;
  GPIO_InitStruct.Speed = GPIO_SPEED_FREQ_LOW;
  HAL_GPIO_Init(GPIOD, &GPIO_InitStruct);

  /*Configure GPIO pin : BTN_Pin */
  GPIO_InitStruct.Pin = BTN_Pin;
  GPIO_InitStruct.Mode = GPIO_MODE_IT_RISING;
  GPIO_InitStruct.Pull = GPIO_NOPULL;
  HAL_GPIO_Init(BTN_GPIO_Port, &GPIO_InitStruct);

}

void HAL_TIM_PeriodElapsedCallback(TIM_HandleTypeDef *htim)
{
  if (htim->Instance == TIM6) {
    HAL_IncTick();
  }
}

void Error_Handler(void)
{
  __disable_irq();
  while (1)
  {
  }
}
